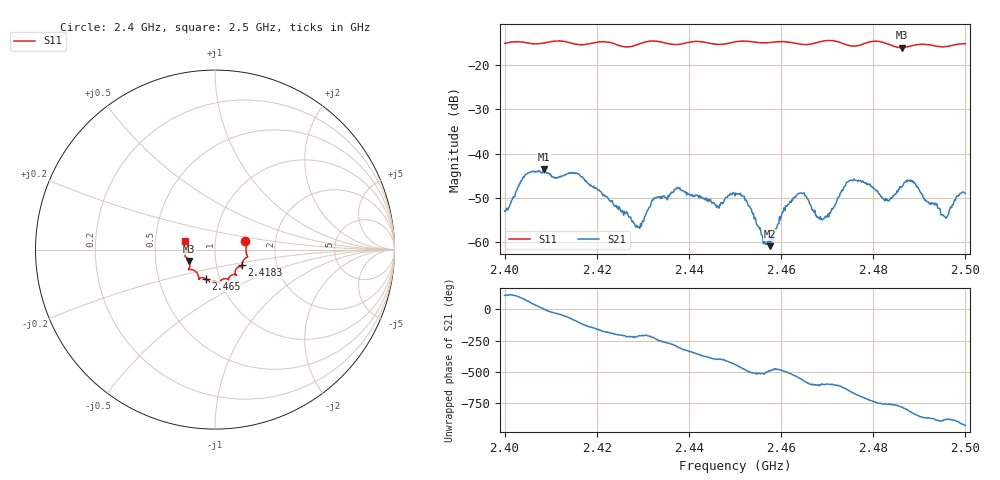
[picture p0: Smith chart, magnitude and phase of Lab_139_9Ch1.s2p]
# Hz S RI R 50
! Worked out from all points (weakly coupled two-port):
!   601 points, 2.4 GHz to 2.5 GHz, reference 50 ohm
!   highest |S21| = -43.52 dB at 2.4085 GHz (marker M1); lowest = -60.9 dB at 2.4577 GHz (marker M2)
!   lowest |S11| = -16.1 dB at 2.4862 GHz (marker M3), VSWR 1.37, Z = 37.2 - j4.78 ohm
!   |S11| at or under -10 dB: start of sweep to end of sweep
!   S12 and S22 are empty: the file has one direction only
!   S11 on the Smith chart (normalised r, x): 2.4 GHz: 1.40, +0.13; 2.4183 GHz: 1.33, -0.24; 2.465 GHz: 0.86, -0.28; 2.5 GHz: 0.71, +0.07
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2.4e9  0.1687 0.0463  -0.000846 0.00208  0 0  0 0
2.4045e9  0.1771 0.0237  0.00115 0.00568  0 0  0 0
2.4085e9  0.1746 -0.0223  0.00661 0.000837  0 0  0 0
2.416667e9  0.1546 -0.0678  -0.00219 -0.00501  0 0  0 0
2.418333e9  0.1499 -0.087  -0.00332 -0.00304  0 0  0 0
2.428833e9  0.112 -0.1271  -0.00124 0.00081  0 0  0 0
2.433333e9  0.1178 -0.1412  -0.0012 0.00299  0 0  0 0
2.437667e9  0.0849 -0.1474  0.00212 0.00347  0 0  0 0
2.446333e9  0.0506 -0.1626  0.00199 -0.00154  0 0  0 0
2.45e9  0.0258 -0.1801  0.000566 -0.0033  0 0  0 0
2.456333e9  -0.00346 -0.1775  -0.000944 -0.000391  0 0  0 0
2.457667e9  -0.015 -0.1783  -0.000575 -0.000696  0 0  0 0
2.461e9  -0.0296 -0.18  -0.00198 -0.00165  0 0  0 0
2.465e9  -0.0525 -0.1613  -0.00304 0.00195  0 0  0 0
2.466667e9  -0.0714 -0.1573  -0.0013 0.00198  0 0  0 0
2.4695e9  -0.0907 -0.1638  -0.00096 0.00165  0 0  0 0
2.4755e9  -0.105 -0.1247  0.00282 0.00405  0 0  0 0
2.483333e9  -0.1411 -0.0964  0.00232 -0.00178  0 0  0 0
2.486167e9  -0.1433 -0.0627  0.00203 -0.00366  0 0  0 0
2.488667e9  -0.1605 -0.0422  -0.00161 -0.00442  0 0  0 0
2.495667e9  -0.1604 0.0123  -0.00181 -0.000625  0 0  0 0
2.5e9  -0.1669 0.0472  -0.00313 0.00165  0 0  0 0
